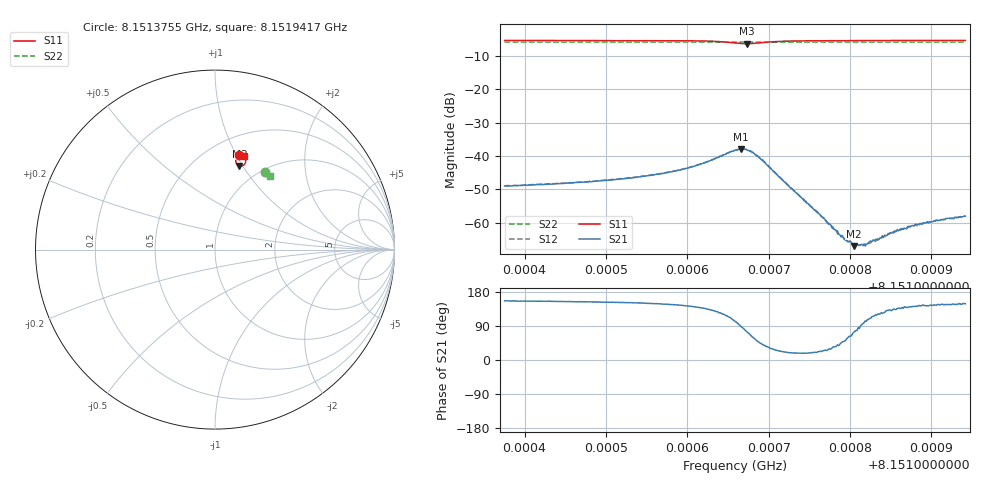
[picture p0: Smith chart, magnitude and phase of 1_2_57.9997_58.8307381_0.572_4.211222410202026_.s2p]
#  HZ  S  RI  R  50.00
! Rohde & Schwarz Vector Network Analyzer
! Rohde-Schwarz,ZNB20-2Port,1311601062101988,3.16
! Created: UTC 3/21/2024, 12:50:15 AM
! freq[Hz]  re:S11  im:S11  re:S21  im:S21  re:S12  im:S12  re:S22  im:S22
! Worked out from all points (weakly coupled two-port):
!   401 points, 8.1513755 GHz to 8.1519417 GHz, reference 50 ohm
!   highest |S21| = -37.84 dB at 8.1516657 GHz (marker M1); lowest = -67.0 dB at 8.1518044 GHz (marker M2)
!   lowest |S11| = -6.3 dB at 8.1516727 GHz (marker M3), VSWR 2.89, Z = 39.6 + j48.4 ohm
!   |S11| at or under -10 dB: nowhere
!   |S22| runs from -5.8 to -5.8 dB; largest |S21 - S12| = 0.00029
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8.1513755e9  0.1353 0.527  -0.00326 0.00143  -0.00327 0.00145  0.2763 0.4337
8.15147034e9  0.1441 0.5244  -0.00362 0.0018  -0.00362 0.00188  0.2814 0.4302
8.1515312e9  0.1511 0.5217  -0.00414 0.00225  -0.0041 0.00235  0.2847 0.428
8.15156517e9  0.1559 0.5191  -0.00457 0.00283  -0.00457 0.00292  0.2864 0.4266
8.15160905e9  0.1649 0.5114  -0.00542 0.0045  -0.00545 0.00462  0.2892 0.4245
8.15165859e9  0.1622 0.473  -0.00259 0.0119  -0.00261 0.012  0.2908 0.4213
8.15166567e9  0.1507 0.4665  0.000152 0.0128  3.43e-05 0.0129  0.2908 0.4212
8.15167274e9  0.1359 0.4666  0.00319 0.0121  0.00329 0.0121  0.2906 0.421
8.15168124e9  0.1216 0.4763  0.00577 0.00955  0.00596 0.00951  0.2905 0.4213
8.15169115e9  0.1158 0.4917  0.00647 0.00602  0.0066 0.00598  0.2909 0.4218
8.15175343e9  0.1376 0.5207  0.00157 0.000558  0.00163 0.000525  0.2954 0.4201
8.15178598e9  0.1446 0.5216  0.000529 0.000414  0.000545 0.000423  0.2974 0.419
8.15179447e9  0.146 0.5217  0.000341 0.000432  0.000375 0.000456  0.2978 0.4186
8.15179872e9  0.1468 0.5217  0.000241 0.000459  0.000274 0.000451  0.2981 0.4184
8.15180438e9  0.1477 0.5217  0.000128 0.00043  0.000184 0.000437  0.2982 0.4181
8.15181287e9  0.1488 0.5217  -8.95e-07 0.000464  1.38e-05 0.000467  0.2988 0.4178
8.15181854e9  0.1498 0.5216  -0.000108 0.000465  -8.7e-05 0.000438  0.2991 0.4178
8.15184826e9  0.1536 0.5212  -0.000462 0.000502  -0.000442 0.000511  0.3007 0.4164
8.15185534e9  0.1543 0.5211  -0.000509 0.000542  -0.000503 0.000519  0.3012 0.416
8.15187232e9  0.1561 0.5207  -0.000663 0.000554  -0.000661 0.00059  0.302 0.4155
8.15188789e9  0.1578 0.5205  -0.000763 0.000571  -0.000751 0.000597  0.303 0.4149
8.15194168e9  0.1628 0.5193  -0.00106 0.000653  -0.00104 0.000711  0.3056 0.4128
